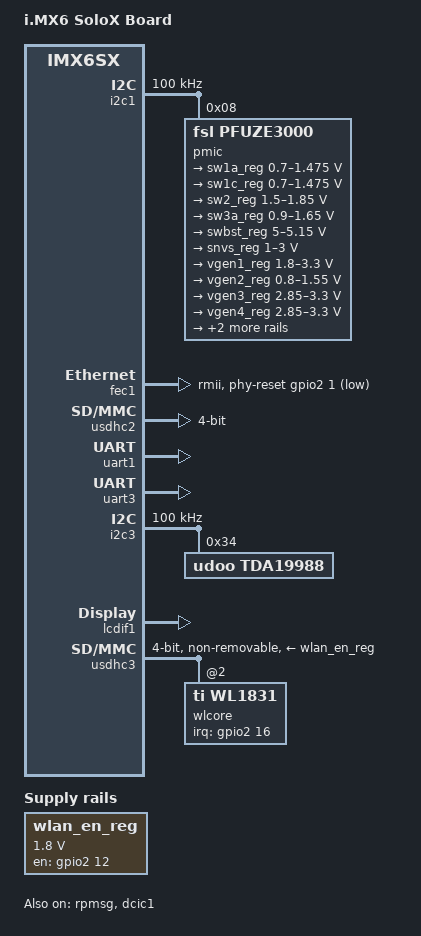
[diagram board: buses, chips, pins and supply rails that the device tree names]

/dts-v1/;

#include "imx6sx.dtsi"
#include "imx6sx-board.dtsi"

/ {
    model = "i.MX6 SoloX Board";
    compatible = "fsl,imx6sx-sdb", "fsl,imx6sx";

	regulators {
		compatible = "simple-bus";

		wlan_en_reg: fixedregulator@1 {
			compatible = "regulator-fixed";
			regulator-name = "wlan-en-regulator";
			regulator-min-microvolt = <1800000>;
			regulator-max-microvolt = <1800000>;

			/* WLAN_EN GPIO for this board - KEY_COL2  Bank2, pin12 */
			gpio = <&gpio2 12 0>;
			/* WLAN card specific delay */
			startup-delay-us = <70000>;
			enable-active-high;
		};
	};

	kim {
	        compatible = "kim";
	        nshutdown_gpio = <49>;  // GPIO2_17 The wl8 driver expects gpio to be an integer, so gpio2_17 is (2-1)*32+17=49
	        dev_name = "/dev/ttymxc2";
	        flow_cntrl = <1>;
	        baud_rate = <921600>;
	};

	reserved-memory {

		#address-cells = <1>;
		#size-cells = <1>;
		ranges;

		/* Reserved 8Mb for M4 */
		m4_memory:  m4@0x84000000 {
			no-map;
			reg = <0x84000000 0x00800000>;
		};

		/* Reserved 1Mb for MCC */
		mcc_memory:  m4@0xBFF00000 {
			no-map;
			reg = <0xBFF00000 0x00100000>;
		};
	};

	// memory {
	// 	linux,usable-memory = <0x80000000 0x1ff00000>,
	// 			<0xa0000000 0x1ff00000>,
	// 			<0xc0000000 0x40000000>;
	// };
};

&ocram {
	reg = <0x00901000 0x1E000>;
};

&ocram {
	reg = <0x00901000 0xf000>;
};

&rpmsg{	
	vdev-nums = <1>;
	reg = <0xbfff0000 0x10000>;
	status = "okay";
};

&clks {
	fsl,shared-clks-number = <0x23>;
	fsl,shared-clks-index = <IMX6SX_CLK_PLL2_BUS IMX6SX_CLK_PLL2_PFD0
			IMX6SX_CLK_PLL2_PFD2 IMX6SX_CLK_PLL3_USB_OTG
			IMX6SX_CLK_PLL3_PFD1 IMX6SX_CLK_PLL3_PFD2
			IMX6SX_CLK_PLL3_PFD3 IMX6SX_CLK_PLL4_AUDIO
			IMX6SX_CLK_PLL5_VIDEO
			IMX6SX_CLK_OCRAM IMX6SX_CLK_CAN1_SERIAL
			IMX6SX_CLK_CAN1_IPG IMX6SX_CLK_CAN2_SERIAL
			IMX6SX_CLK_CAN2_IPG IMX6SX_CLK_CANFD
			IMX6SX_CLK_ECSPI1 IMX6SX_CLK_ECSPI2
			IMX6SX_CLK_ECSPI3 IMX6SX_CLK_ECSPI4
			IMX6SX_CLK_ECSPI5 IMX6SX_CLK_QSPI1
			IMX6SX_CLK_QSPI2 IMX6SX_CLK_SSI1
			IMX6SX_CLK_SSI2 IMX6SX_CLK_SSI3
			IMX6SX_CLK_UART_SERIAL IMX6SX_CLK_UART_IPG
			IMX6SX_CLK_PERIPH_CLK2_SEL IMX6SX_CLK_DUMMY
			IMX6SX_CLK_I2C1 IMX6SX_CLK_I2C2
			IMX6SX_CLK_I2C3 IMX6SX_CLK_I2C4
			IMX6SX_CLK_EPIT1 IMX6SX_CLK_EPIT2>;
	fsl,shared-mem-addr = <0x91F000>;
	fsl,shared-mem-size = <0x1000>;
};

&cpu0 {
   	operating-points = <
		/* kHz    uV */
		996000  1250000
		792000  1175000
		396000  1175000
		198000	1175000
		>;
	fsl,soc-operating-points = <
		/* ARM kHz      SOC uV */
		996000	1250000
		792000	1175000
		396000	1175000
		198000	1175000
	>;
	arm-supply = <&sw1a_reg>;
	soc-supply = <&sw1a_reg>;
	fsl,arm-soc-shared = <1>; 
};

&i2c1 {
	clock-frequency = <100000>;
	pinctrl-names = "default";
	pinctrl-0 = <&pinctrl_i2c1>;
	status = "okay";
	pmic: pfuze3000@08 {
		compatible = "fsl,pfuze3000";
		reg = <0x08>;

		regulators {
			sw1a_reg: sw1a {
				regulator-min-microvolt = <700000>;
				regulator-max-microvolt = <1475000>;
				regulator-boot-on;
				regulator-always-on;
				regulator-ramp-delay = <6250>;
			};

			/* use sw1c_reg to align with pfuze100/pfuze200 */
			sw1c_reg: sw1b {
				regulator-min-microvolt = <700000>;
				regulator-max-microvolt = <1475000>;
				regulator-boot-on;
				regulator-always-on;
				regulator-ramp-delay = <6250>;
			};

			sw2_reg: sw2 {
				regulator-min-microvolt = <1500000>;
				regulator-max-microvolt = <1850000>;
				regulator-boot-on;
				regulator-always-on;
			};

			sw3a_reg: sw3 {
				regulator-min-microvolt = <900000>;
				regulator-max-microvolt = <1650000>;
				regulator-boot-on;
				regulator-always-on;
			};

			swbst_reg: swbst {
				regulator-min-microvolt = <5000000>;
				regulator-max-microvolt = <5150000>;
			};

			snvs_reg: vsnvs {
				regulator-min-microvolt = <1000000>;
				regulator-max-microvolt = <3000000>;
				regulator-boot-on;
				regulator-always-on;
			};

			vref_reg: vrefddr {
				regulator-boot-on;
				regulator-always-on;
			};

			vgen1_reg: vldo1 {
				regulator-min-microvolt = <1800000>;
				regulator-max-microvolt = <3300000>;
				regulator-always-on;
			};

			vgen2_reg: vldo2 {
				regulator-min-microvolt = <800000>;
				regulator-max-microvolt = <1550000>;
			};

			vgen3_reg: vccsd {
				regulator-min-microvolt = <2850000>;
				regulator-max-microvolt = <3300000>;
				regulator-always-on;
			};

			vgen4_reg: v33 {
				regulator-min-microvolt = <2850000>;
				regulator-max-microvolt = <3300000>;
				regulator-always-on;
			};

			vgen5_reg: vldo3 {
				regulator-min-microvolt = <1800000>;
				regulator-max-microvolt = <3300000>;
				regulator-always-on;
			};

			vgen6_reg: vldo4 {
				regulator-min-microvolt = <1800000>;
				regulator-max-microvolt = <3300000>;
				regulator-always-on;
			};
		};
	};
};

&fec1 {
	pinctrl-names = "default";
	pinctrl-0 = <&pinctrl_enet1 &pinctrl_enet1_clkout>;
	phy-reset-gpios = <&gpio2 1 GPIO_ACTIVE_HIGH>;
	phy-mode = "rmii";
	fsl,num_tx_queues=<3>;
	fsl,num_rx_queues=<3>;
	status = "okay";
};


&usdhc2 {
	pinctrl-names = "default";
	pinctrl-0 = <&pinctrl_usdhc1>;
	no-1-8-v;
	bus-width = <4>;
	keep-power-in-suspend;
	enable-sdio-wakeup;
	status = "okay";
};

&uart1 {
	pinctrl-names = "default";
	pinctrl-0 = <&pinctrl_uart1>;
	status = "okay";
};

&uart3 {
	pinctrl-names = "default";
	pinctrl-0 = <&pinctrl_uart3>;
	status = "okay";
};

&i2c3 {
	clock-frequency = <100000>;
	pinctrl-names = "default";
	pinctrl-0 = <&pinctrl_i2c3>;
	status = "okay";
	
	tda19988: tda19988@34 {
		compatible = "udoo,tda19988";
		reg = <0x34>;
		status = "okay";
	};
};

&lcdif1 {
	pinctrl-names = "default";
	pinctrl-0 = <&pinctrl_lcdif1>;
	display = <&display0>;
	status = "okay";

	display0: display {
		bits-per-pixel = <32>;
		bus-width = <24>;

		display-timings {
			native-mode = <&timing0>;
			timing0: timing0 {
				clock-frequency = <74250000>;
				hactive = <1280>;
				vactive = <720>;
				hback-porch = <220>; 
				hfront-porch = <110>;
				vback-porch = <20>;
				vfront-porch = <5>;
				hsync-len = <40>;
				vsync-len = <5>;
				
				hsync-active = <0>;
				vsync-active = <1>;
				de-active = <1>;
				pixelclk-active = <0>;
			};
		};
	};
};

&dcic1 {
	dcic_id = <0>;
	dcic_mux = "dcic-lcdif1";
	status = "okay";
};

&usdhc3 { /* WiFi */
	pinctrl-names = "default";
	pinctrl-0 = <&pinctrl_usdhc3>;
	enable-sdio-wakeup;
	bus-width = <4>;
	non-removable;	// non-removable is not a variable, the fact it is listed is all that is used by driver
	vmmc-supply = <&wlan_en_reg>;
	cap-power-off-card;
	keep-power-in-suspend;
	status = "okay";
	#address-cells = <1>;
	#size-cells = <0>;
	wlcore: wlcore@0 {
		compatible = "ti,wl1831";
		reg = <2>;
		interrupt-parent = <&gpio2>;
		interrupts = <16 IRQ_TYPE_EDGE_RISING>;
		ref-clock-frequency = <38400000>;
		tcxo-clock-frequency = <26000000>;
	};
};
